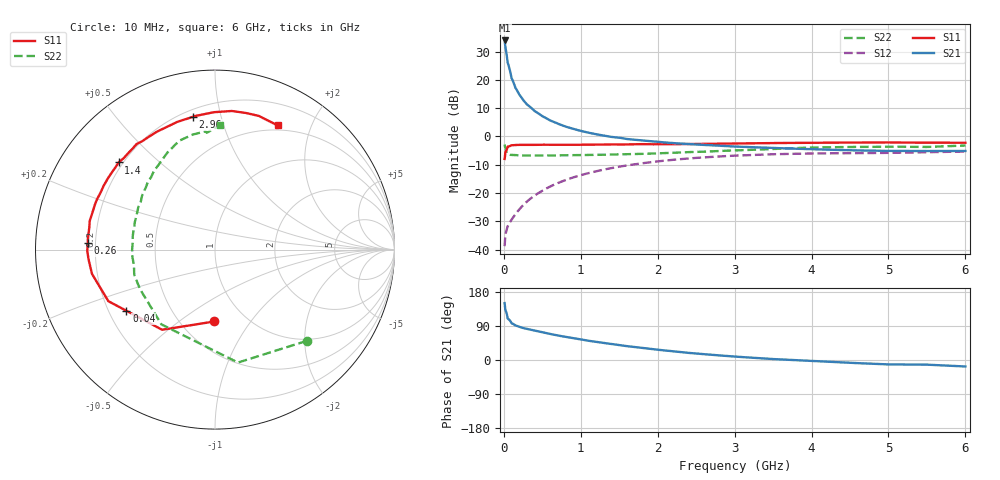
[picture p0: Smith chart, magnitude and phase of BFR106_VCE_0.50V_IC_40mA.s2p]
! Infineon Technologies  Discrete & RF Semiconductors
! BFR106
! VCE = 0.50 V,  IC =  40 mA
! Common Emitter S-Parameters:  Nov 2015
# GHz  S  MA  R  50
!  f  S11  S21  S12  S22
! GHz  MAG  ANG  MAG  ANG  MAG  ANG  MAG  ANG
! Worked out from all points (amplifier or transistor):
!   210 points, 10 MHz to 6 GHz, reference 50 ohm
!   highest |S21| = 33.9 dB at 10 MHz (marker M1)
!   |S21| within 3 dB of that: start of sweep to 24.85 MHz
!   unconditionally stable (mu >= 1): 166 MHz to end of sweep
!   at 185 MHz: K = 1.03, MAG = 19.9 dB, |S12| = -26.3 dB
!   at 1.52 GHz: K = 1.13, MAG = 2.9 dB, |S12| = -10.6 dB
!   at 6 GHz: K = 1.03, MAG = -1.0 dB, |S12| = -5.3 dB
!   S11 on the Smith chart (normalised r, x): 10 MHz: 0.72, -0.69; 40 MHz: 0.27, -0.29; 260 MHz: 0.17, +0.02; 1.4 GHz: 0.18, +0.37; 2.96 GHz: 0.24, +0.82; 6 GHz: 0.44, +1.53
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0.01  0.4004 -90.4  49.82 150.2  0.0115 65.6  0.7208 -44.9
0.02  0.535 -123.4  38.45 131.9  0.0183 52.3  0.6422 -78.5
0.04  0.6002 -145.4  25.79 120.3  0.0233 45.6  0.5121 -107.8
0.05  0.6601 -154.2  20.21 109.3  0.0259 43.3  0.5126 -125.6
0.1  0.6986 -168.8  10.82 97.1  0.0337 48.8  0.4724 -152.4
0.15  0.7066 -175.6  7.291 91.3  0.0421 55.0  0.4711 -162.8
0.2  0.7118 -179.3  5.537 87.4  0.0512 59.0  0.4604 -168.7
0.24  0.71 178.2  4.637 85.0  0.0589 61.5  0.4607 -172.2
0.26  0.7098 177.1  4.27 83.9  0.0628 62.4  0.4613 -173.6
0.3  0.7105 175.2  3.696 81.9  0.0706 64.0  0.4623 -175.7
0.4  0.7103 170.6  2.819 77.3  0.0902 65.2  0.4618 179.8
0.5  0.7161 167.1  2.288 73.1  0.1097 65.4  0.4602 176.2
0.6  0.7128 163.1  1.927 68.7  0.1301 64.7  0.46 173.6
0.7  0.7145 159.7  1.682 64.6  0.1497 63.6  0.4642 171.1
1.02  0.7153 149.4  1.236 53.6  0.2107 58.7  0.4685 163.5
1.4  0.7241 137.9  0.982 42.3  0.2763 51.6  0.479 155.4
2.02  0.7284 121.0  0.799 26.7  0.3655 39.6  0.5066 143.0
2.96  0.7504 99.5  0.668 9.6  0.4551 22.7  0.5634 124.8
3.1  0.7537 97.0  0.656 7.7  0.463 20.4  0.5722 122.4
4.1  0.7778 81.9  0.59 -3.5  0.5019 6.1  0.6405 106.7
5.1  0.7818 70.9  0.555 -11.7  0.5156 -4.3  0.6592 94.5
6  0.7751 63.3  0.554 -17.1  0.5417 -12.2  0.692 87.9
